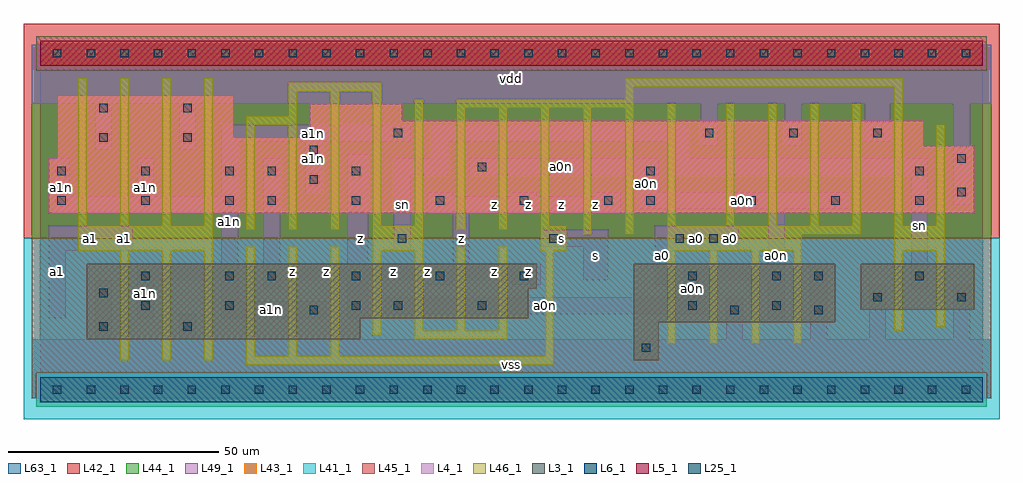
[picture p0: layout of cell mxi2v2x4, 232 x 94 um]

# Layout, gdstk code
import gdstk
lib = gdstk.Library(unit=1e-6, precision=1e-09)
def R(c, l, rs):  # rectangles x0, y0, x1, y1
    for r in rs: c.add(gdstk.rectangle(r[:2], r[2:], *l))
def A(c, l, x, y, w, h, nx, ny, dx, dy):  # array of equal rectangles
    R(c, l, [(x+i*dx, y+j*dy, x+i*dx+w, y+j*dy+h) for i in range(nx) for j in range(ny)])
L3_1 = (3, 1)
L4_1 = (4, 1)
L5_1 = (5, 1)
L6_1 = (6, 1)
L25_1 = (25, 1)
L41_1 = (41, 1)
L42_1 = (42, 1)
L43_1 = (43, 1)
L44_1 = (44, 1)
L45_1 = (45, 1)
L46_1 = (46, 1)
L49_1 = (49, 1)
L63_1 = (63, 1)

mxi2v2x4 = lib.new_cell('mxi2v2x4')
R(mxi2v2x4, L3_1, [(141,7,147,16), (11,12,76,17), (141,16,189,30), (11,17,116,24), (195,19,222,30), (11,24,118,30)])
R(mxi2v2x4, L4_1, [(2,42,222,55), (4,55,222,58), (4,58,210,60), (4,60,46,70), (64,60,210,64), (64,64,86,68)])
R(mxi2v2x4, L5_1, [(0,77,224,83)])
R(mxi2v2x4, L6_1, [(0,-3,224,3), (0,-3,224,3)])
A(mxi2v2x4, L25_1, 3, -1, 2, 2, 28, 2, 8, 80)
A(mxi2v2x4, L25_1, 54, 26, 2, 2, 4, 1, 20, 0)
A(mxi2v2x4, L25_1, 4, 44, 2, 2, 3, 2, 20, 7)
A(mxi2v2x4, L25_1, 54, 44, 2, 2, 5, 1, 20, 0)
A(mxi2v2x4, L25_1, 168, 44, 2, 2, 3, 1, 20, 0)
A(mxi2v2x4, L25_1, 158, 60, 2, 2, 3, 1, 20, 0)
R(mxi2v2x4, L25_1, [(143,9,145,11), (14,14,16,16), (34,14,36,16), (64,18,66,20), (164,18,166,20), (184,18,186,20), (24,19,26,21), (44,19,46,21), (74,19,76,21), (84,19,86,21), (104,19,106,21), (154,19,156,21), (174,19,176,21), (198,21,200,23), (218,21,220,23), (14,22,16,24), (24,26,26,28), (44,26,46,28), (154,26,156,28), (174,26,176,28), (184,26,186,28), (208,26,210,28), (11,35,13,37), (19,35,21,37), (85,35,87,37), (121,35,123,37), (151,35,153,37), (159,35,161,37), (144,44,146,46), (218,46,220,48), (64,49,66,51), (54,51,56,53), (74,51,76,53), (144,51,146,53), (208,51,210,53), (104,52,106,54), (124,52,126,54), (218,54,220,56), (64,56,66,58), (14,59,16,61), (34,59,36,61), (84,60,86,62), (14,66,16,68), (34,66,36,68)])
R(mxi2v2x4, L41_1, [(-4,-7,228,36)])
R(mxi2v2x4, L42_1, [(-4,36,228,87)])
R(mxi2v2x4, L43_1, [(0,-3,224,3), (141,7,147,16), (11,12,76,17), (141,16,189,30), (11,17,116,24), (195,19,222,30), (11,24,118,30), (2,42,222,55), (4,55,222,58), (4,58,210,60), (4,60,46,70), (64,60,210,64), (64,64,86,68), (0,77,224,83)])
R(mxi2v2x4, L44_1, [(-1,-4,225,4), (-2,36,226,76), (-2,76,-1,82), (225,76,226,82)])
R(mxi2v2x4, L45_1, [(-2,-2,-1,4), (225,-2,226,4), (-2,4,226,36), (-1,76,225,84)])
A(mxi2v2x4, L46_1, 19, 7, 2, 26, 3, 1, 10, 0)
A(mxi2v2x4, L46_1, 49, 8, 2, 26, 3, 1, 10, 0)
A(mxi2v2x4, L46_1, 149, 11, 2, 22, 4, 1, 10, 0)
A(mxi2v2x4, L46_1, 9, 39, 2, 35, 4, 1, 10, 0)
A(mxi2v2x4, L46_1, 163, 39, 2, 29, 4, 1, 10, 0)
R(mxi2v2x4, L46_1, [(49,6,122,8), (120,8,122,33), (89,12,111,14), (79,13,81,33), (89,14,91,33), (99,14,101,34), (109,14,111,34), (203,14,205,33), (213,15,215,33), (9,33,41,39), (79,33,91,39), (119,33,125,39), (149,33,181,37), (203,33,215,39), (129,37,131,67), (139,37,141,67), (149,37,195,39), (49,38,51,63), (59,38,61,63), (69,38,71,71), (99,38,101,67), (109,38,111,67), (79,39,81,71), (89,39,91,69), (119,39,121,67), (149,39,151,68), (203,39,205,72), (213,39,215,63), (49,63,61,65), (59,65,61,71), (99,67,141,69), (139,69,141,72), (59,71,81,73), (139,72,205,74)])
A(mxi2v2x4, L49_1, 92, 46, 6, 1, 3, 1, 20, 0)
R(mxi2v2x4, L49_1, [(-2,-2,226,12), (13,12,17,26), (33,12,37,18), (163,12,167,22), (183,12,187,30), (197,12,201,25), (217,12,221,25), (2,17,6,33), (23,17,27,26), (43,17,68,21), (73,17,78,26), (173,17,177,26), (82,18,158,22), (43,21,47,26), (153,22,158,26), (53,24,57,26), (207,24,211,51), (92,25,98,26), (112,25,119,26), (146,25,150,33), (23,26,47,30), (53,26,119,30), (129,26,135,34), (153,26,177,30), (43,30,47,42), (53,30,57,55), (73,30,78,56), (98,30,102,42), (173,30,177,43), (2,33,22,39), (84,33,88,51), (146,33,166,39), (119,34,135,38), (3,42,47,46), (92,42,138,46), (142,43,192,47), (217,44,221,68), (3,46,7,55), (23,46,27,55), (43,46,47,59), (63,47,67,59), (142,47,147,51), (84,51,97,55), (102,51,147,55), (150,51,211,55), (93,55,97,59), (150,55,154,59), (13,57,17,68), (33,57,37,68), (157,58,161,68), (177,58,181,68), (43,59,88,63), (93,59,154,63), (196,59,202,68), (-2,68,226,82)])
R(mxi2v2x4, L63_1, [(0,0,224,80)])
mxi2v2x4.add(gdstk.Label('a1', (4,28), layer=49, texttype=1))
mxi2v2x4.add(gdstk.Label('a1n', (25,23), layer=49, texttype=1))
mxi2v2x4.add(gdstk.Label('a1', (12,36), layer=49, texttype=1))
mxi2v2x4.add(gdstk.Label('a1', (20,36), layer=49, texttype=1))
mxi2v2x4.add(gdstk.Label('a1n', (5,48), layer=49, texttype=1))
mxi2v2x4.add(gdstk.Label('a1n', (25,48), layer=49, texttype=1))
mxi2v2x4.add(gdstk.Label('a1n', (55,19), layer=49, texttype=1))
mxi2v2x4.add(gdstk.Label('z', (68,28), layer=49, texttype=1))
mxi2v2x4.add(gdstk.Label('z', (60,28), layer=49, texttype=1))
mxi2v2x4.add(gdstk.Label('a1n', (65,55), layer=49, texttype=1))
mxi2v2x4.add(gdstk.Label('a1n', (45,40), layer=49, texttype=1))
mxi2v2x4.add(gdstk.Label('z', (84,28), layer=49, texttype=1))
mxi2v2x4.add(gdstk.Label('z', (92,28), layer=49, texttype=1))
mxi2v2x4.add(gdstk.Label('z', (108,28), layer=49, texttype=1))
mxi2v2x4.add(gdstk.Label('z', (76,36), layer=49, texttype=1))
mxi2v2x4.add(gdstk.Label('z', (100,36), layer=49, texttype=1))
mxi2v2x4.add(gdstk.Label('z', (108,44), layer=49, texttype=1))
mxi2v2x4.add(gdstk.Label('sn', (86,44), layer=49, texttype=1))
mxi2v2x4.add(gdstk.Label('a1n', (65,61), layer=49, texttype=1))
mxi2v2x4.add(gdstk.Label('vss', (112,6), layer=49, texttype=1))
mxi2v2x4.add(gdstk.Label('z', (116,28), layer=49, texttype=1))
mxi2v2x4.add(gdstk.Label('a0', (148,32), layer=49, texttype=1))
mxi2v2x4.add(gdstk.Label('s', (124,36), layer=49, texttype=1))
mxi2v2x4.add(gdstk.Label('s', (132,32), layer=49, texttype=1))
mxi2v2x4.add(gdstk.Label('z', (132,44), layer=49, texttype=1))
mxi2v2x4.add(gdstk.Label('z', (124,44), layer=49, texttype=1))
mxi2v2x4.add(gdstk.Label('z', (116,44), layer=49, texttype=1))
mxi2v2x4.add(gdstk.Label('a0n', (144,49), layer=49, texttype=1))
mxi2v2x4.add(gdstk.Label('a0n', (124,53), layer=49, texttype=1))
mxi2v2x4.add(gdstk.Label('vdd', (112,74), layer=49, texttype=1))
mxi2v2x4.add(gdstk.Label('a0n', (120,20), layer=49, texttype=1))
mxi2v2x4.add(gdstk.Label('a0n', (155,24), layer=49, texttype=1))
mxi2v2x4.add(gdstk.Label('a0', (164,36), layer=49, texttype=1))
mxi2v2x4.add(gdstk.Label('a0', (156,36), layer=49, texttype=1))
mxi2v2x4.add(gdstk.Label('a0n', (175,32), layer=49, texttype=1))
mxi2v2x4.add(gdstk.Label('a0n', (167,45), layer=49, texttype=1))
mxi2v2x4.add(gdstk.Label('sn', (209,39), layer=49, texttype=1))

lib.write_gds('mxi2v2x4.gds')
